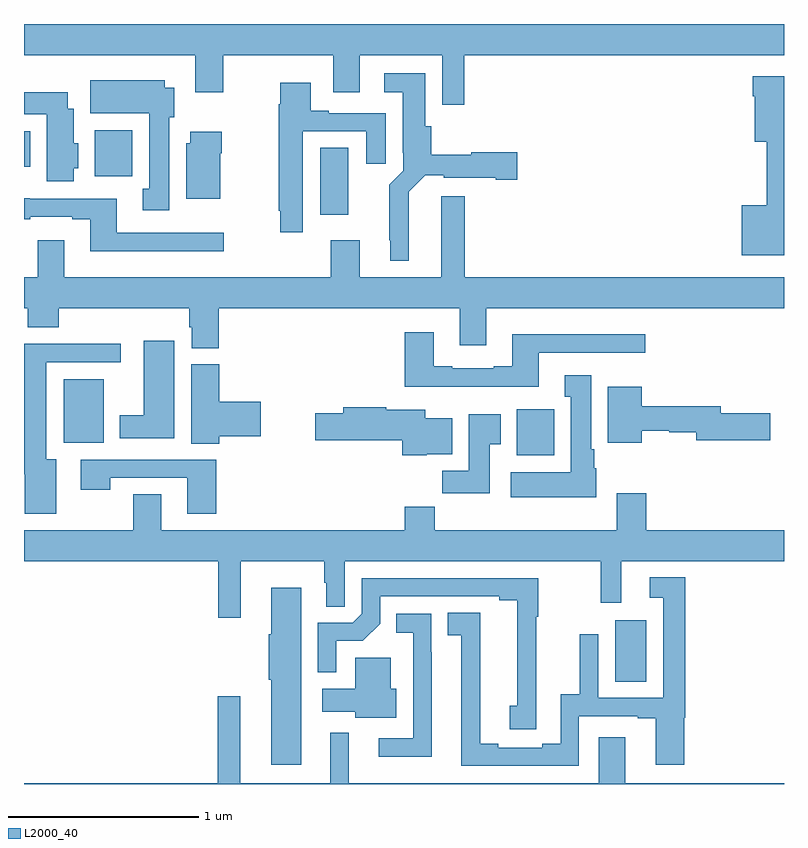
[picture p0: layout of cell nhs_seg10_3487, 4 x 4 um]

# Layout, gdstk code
import gdstk
lib = gdstk.Library(unit=1e-6, precision=1e-09)
def R(c, l, rs):  # rectangles x0, y0, x1, y1
    for r in rs: c.add(gdstk.rectangle(r[:2], r[2:], *l))
def P(c, l, *ps):  # polygons
    for p in ps: c.add(gdstk.Polygon(p, *l))
L2000_40 = (2000, 40)

nhs_seg10_3487 = lib.new_cell('nhs_seg10_3487')
R(nhs_seg10_3487, L2000_40, [(304.112,1277.038,304.276,1277.362), (303.593,1278.23,303.79,1278.472), (301.208,1278.296,301.42,1278.631), (302.558,1279.497,302.707,1279.85), (301.373,1279.7,301.57,1279.942), (301,1279.748,301.033,1279.936)])
P(nhs_seg10_3487, L2000_40, [(303.317,1280.336),(305,1280.336),(305,1280.5),(301,1280.5),(301,1280.336),(301.901,1280.336),(301.901,1280.142),(302.049,1280.142),(302.049,1280.336),(302.627,1280.336),(302.627,1280.142),(302.767,1280.142),(302.767,1280.336),(303.201,1280.336),(303.201,1280.076),(303.317,1280.076)],
  [(303.025,1279.616),(303.111,1279.703),(303.21,1279.703),(303.21,1279.691),(303.482,1279.691),(303.482,1279.679),(303.595,1279.679),(303.595,1279.826),(303.354,1279.826),(303.354,1279.813),(303.143,1279.813),(303.143,1279.962),(303.112,1279.962),(303.112,1280.242),(302.895,1280.242),(302.895,1280.141),(302.993,1280.141),(302.993,1279.822),(302.997,1279.822),(302.997,1279.728),(302.923,1279.654),(302.923,1279.363),(302.927,1279.363),(302.927,1279.253),(303.025,1279.253)],
  [(305,1280.224),(304.835,1280.224),(304.835,1280.12),(304.847,1280.12),(304.847,1279.88),(304.908,1279.88),(304.908,1279.546),(304.778,1279.546),(304.778,1279.283),(305,1279.283)],
  [(301.765,1280.01),(301.792,1280.01),(301.792,1280.164),(301.741,1280.164),(301.741,1280.203),(301.349,1280.203),(301.349,1280.03),(301.658,1280.03),(301.658,1279.634),(301.625,1279.634),(301.625,1279.521),(301.765,1279.521)],
  [(302.467,1279.935),(302.801,1279.935),(302.801,1279.764),(302.905,1279.764),(302.905,1280.031),(302.605,1280.031),(302.605,1280.044),(302.509,1280.044),(302.509,1280.191),(302.348,1280.191),(302.348,1280.078),(302.341,1280.078),(302.341,1279.516),(302.348,1279.516),(302.348,1279.404),(302.467,1279.404)],
  [(301.261,1279.74),(301.285,1279.74),(301.285,1279.872),(301.261,1279.872),(301.261,1280.053),(301.231,1280.053),(301.231,1280.142),(301,1280.142),(301,1280.024),(301.121,1280.024),(301.121,1279.673),(301.261,1279.673)],
  [(302.032,1279.82),(302.04,1279.82),(302.04,1279.933),(301.874,1279.933),(301.874,1279.872),(301.853,1279.872),(301.853,1279.58),(302.032,1279.58)],
  [(302.024,1279.004),(303.293,1279.004),(303.293,1278.81),(303.433,1278.81),(303.433,1279.004),(305,1279.004),(305,1279.168),(303.32,1279.168),(303.32,1279.594),(303.197,1279.594),(303.197,1279.168),(302.767,1279.168),(302.767,1279.363),(302.615,1279.363),(302.615,1279.168),(301.213,1279.168),(301.213,1279.363),(301.073,1279.363),(301.073,1279.168),(301,1279.168),(301,1279.004),(301.019,1279.004),(301.019,1278.905),(301.184,1278.905),(301.184,1279.004),(301.871,1279.004),(301.871,1278.903),(301.883,1278.903),(301.883,1278.793),(302.024,1278.793)],
  [(302.05,1279.401),(301.489,1279.401),(301.489,1279.581),(301.029,1279.581),(301.029,1279.582),(301,1279.582),(301,1279.473),(301.033,1279.473),(301.033,1279.485),(301.253,1279.485),(301.253,1279.473),(301.349,1279.473),(301.349,1279.304),(302.05,1279.304)],
  [(303.709,1278.771),(304.27,1278.771),(304.27,1278.868),(303.569,1278.868),(303.569,1278.7),(303.473,1278.7),(303.473,1278.687),(303.253,1278.687),(303.253,1278.7),(303.157,1278.7),(303.157,1278.877),(303.005,1278.877),(303.005,1278.59),(303.709,1278.59)],
  [(301.792,1278.832),(301.631,1278.832),(301.631,1278.442),(301.505,1278.442),(301.505,1278.32),(301.792,1278.32)],
  [(301.171,1278.208),(301.117,1278.208),(301.117,1278.72),(301.51,1278.72),(301.51,1278.818),(301,1278.818),(301,1278.13),(301.004,1278.13),(301.004,1277.922),(301.171,1277.922)],
  [(302.027,1278.329),(302.245,1278.329),(302.245,1278.512),(302.027,1278.512),(302.027,1278.708),(301.88,1278.708),(301.88,1278.292),(302.027,1278.292)],
  [(304.012,1278.162),(304,1278.162),(304,1278.262),(303.985,1278.262),(303.985,1278.652),(303.845,1278.652),(303.845,1278.539),(303.878,1278.539),(303.878,1278.142),(303.561,1278.142),(303.561,1278.008),(304.012,1278.008)],
  [(304.252,1278.36),(304.395,1278.36),(304.395,1278.352),(304.538,1278.352),(304.538,1278.31),(304.927,1278.31),(304.927,1278.452),(304.666,1278.452),(304.666,1278.488),(304.252,1278.488),(304.252,1278.592),(304.073,1278.592),(304.073,1278.296),(304.252,1278.296)],
  [(303.12,1278.236),(303.253,1278.236),(303.253,1278.424),(303.112,1278.424),(303.112,1278.469),(302.906,1278.469),(302.906,1278.482),(302.681,1278.482),(302.681,1278.452),(302.532,1278.452),(302.532,1278.31),(302.99,1278.31),(302.99,1278.23),(303.12,1278.23)],
  [(303.451,1278.289),(303.508,1278.289),(303.508,1278.445),(303.341,1278.445),(303.341,1278.148),(303.202,1278.148),(303.202,1278.03),(303.451,1278.03)],
  [(302.012,1278.207),(301.299,1278.207),(301.299,1278.048),(301.455,1278.048),(301.455,1278.111),(301.859,1278.111),(301.859,1277.922),(302.012,1277.922)],
  [(302.14,1277.672),(302.58,1277.672),(302.58,1277.559),(302.591,1277.559),(302.591,1277.434),(302.688,1277.434),(302.688,1277.672),(304.035,1277.672),(304.035,1277.454),(304.144,1277.454),(304.144,1277.672),(305,1277.672),(305,1277.836),(304.274,1277.836),(304.274,1278.031),(304.121,1278.031),(304.121,1277.836),(303.161,1277.836),(303.161,1277.96),(303.005,1277.96),(303.005,1277.836),(301.723,1277.836),(301.723,1278.026),(301.576,1278.026),(301.576,1277.836),(301,1277.836),(301,1277.672),(302.023,1277.672),(302.023,1277.376),(302.14,1277.376)],
  [(303.921,1276.857),(304.229,1276.857),(304.229,1276.845),(304.325,1276.845),(304.325,1276.602),(304.475,1276.602),(304.475,1276.85),(304.481,1276.85),(304.481,1277.587),(304.293,1277.587),(304.293,1277.481),(304.365,1277.481),(304.365,1276.953),(304.023,1276.953),(304.023,1277.287),(303.925,1277.287),(303.925,1276.973),(303.825,1276.973),(303.825,1276.712),(303.728,1276.712),(303.728,1276.692),(303.496,1276.692),(303.496,1276.712),(303.4,1276.712),(303.4,1276.993),(303.401,1276.993),(303.401,1277.402),(303.229,1277.402),(303.229,1277.284),(303.302,1277.284),(303.302,1276.596),(303.921,1276.596)],
  [(303.697,1277.38),(303.707,1277.38),(303.707,1277.583),(302.778,1277.583),(302.778,1277.397),(302.73,1277.349),(302.547,1277.349),(302.547,1277.087),(302.643,1277.087),(302.643,1277.253),(302.784,1277.253),(302.874,1277.343),(302.874,1277.487),(303.5,1277.487),(303.5,1277.467),(303.596,1277.467),(303.596,1276.912),(303.557,1276.912),(303.557,1276.788),(303.697,1276.788)],
  [(302.458,1277.533),(302.3,1277.533),(302.3,1277.288),(302.288,1277.288),(302.288,1277.05),(302.3,1277.05),(302.3,1276.602),(302.458,1276.602)],
  [(303.145,1277.194),(303.144,1277.194),(303.144,1277.397),(302.959,1277.397),(302.959,1277.296),(303.048,1277.296),(303.048,1276.74),(302.868,1276.74),(302.868,1276.643),(303.145,1276.643)],
  [(302.959,1277.002),(302.929,1277.002),(302.929,1277.164),(302.744,1277.164),(302.744,1277.002),(302.571,1277.002),(302.571,1276.88),(302.744,1276.88),(302.744,1276.85),(302.959,1276.85)],
  [(302.02,1276.963),(302.02,1276.504),(301,1276.504),(301,1276.5),(305,1276.5),(305,1276.504),(304.165,1276.504),(304.165,1276.747),(304.025,1276.747),(304.025,1276.504),(302.71,1276.504),(302.71,1276.771),(302.612,1276.771),(302.612,1276.504),(302.137,1276.504),(302.137,1276.963)])

lib.write_gds('nhs_seg10_3487.gds')
